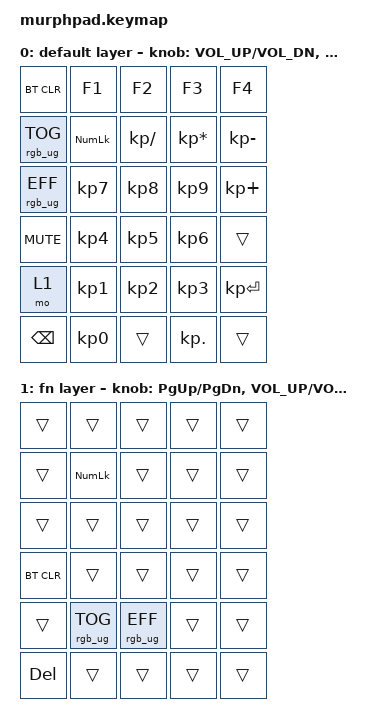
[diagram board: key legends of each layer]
/*
 * Copyright (c) 2021 The ZMK Contributors
 *
 * SPDX-License-Identifier: MIT
 */

#include <behaviors.dtsi>
#include <dt-bindings/zmk/keys.h>
#include <dt-bindings/zmk/bt.h>
#include <dt-bindings/zmk/rgb.h>


#define TIMEOUT 300

&encoder_1 {
    status = "okay";
};

&encoder_2 {
    status = "okay";
};

/ {
    combos {
        compatible = "zmk,combos";
        combo_btclr {
            timeout-ms = <TIMEOUT>;
            key-positions = <1 6>;
            bindings = <&bt BT_CLR>;
        };
        combo_reset {
            timeout-ms = <TIMEOUT>;
            key-positions = <1 3>;
            bindings = <&reset>;
        };
        combo_bootloader {
            timeout-ms = <TIMEOUT>;
            key-positions = <1 2>;
            bindings = <&bootloader>;
        };
        combo_bt_nxt {
            timeout-ms = <TIMEOUT>;
            key-positions = <1 4>;
            bindings = <&bt BT_NXT>;
        };
    };
    
    sensors {
        compatible = "zmk,keymap-sensors";
        sensors = <&encoder_1 &encoder_2>;
    };


    keymap0: keymap {
        compatible = "zmk,keymap";

        default_layer {
            label = "default layer";
            bindings = <
                &bt BT_CLR       &kp F1       &kp F2          &kp F3            &kp F4
                &rgb_ug RGB_TOG  &kp KP_NUM   &kp KP_DIVIDE   &kp KP_MULTIPLY   &kp KP_MINUS    
                &rgb_ug RGB_EFF  &kp KP_N7    &kp KP_N8       &kp KP_N9         &kp KP_PLUS   
                &kp C_MUTE       &kp KP_N4    &kp KP_N5       &kp KP_N6         &trans
                &mo 1            &kp KP_N1    &kp KP_N2       &kp KP_N3         &kp KP_ENTER
                &kp BSPC         &kp KP_N0    &trans          &kp KP_DOT        &trans
            >;
            sensor-bindings = <&inc_dec_kp C_VOL_UP C_VOL_DN &inc_dec_kp PG_UP PG_DN>;

        }; 
        
        fn_layer {
            label = "fn layer";
            bindings = <
                &trans      &trans              &trans                 &trans          &trans  
                &trans      &kp KP_NUM          &trans                 &trans          &trans     
                &trans      &trans              &trans                 &trans          &trans
                &bt BT_CLR  &trans              &trans                 &trans          &trans    
                &trans      &rgb_ug RGB_TOG     &rgb_ug RGB_EFF        &trans          &trans
                &kp DEL     &trans              &trans                 &trans          &trans           
            >;  
            sensor-bindings = <&inc_dec_kp PG_UP PG_DN &inc_dec_kp C_VOL_UP C_VOL_DN>;
                
        };
    };
};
